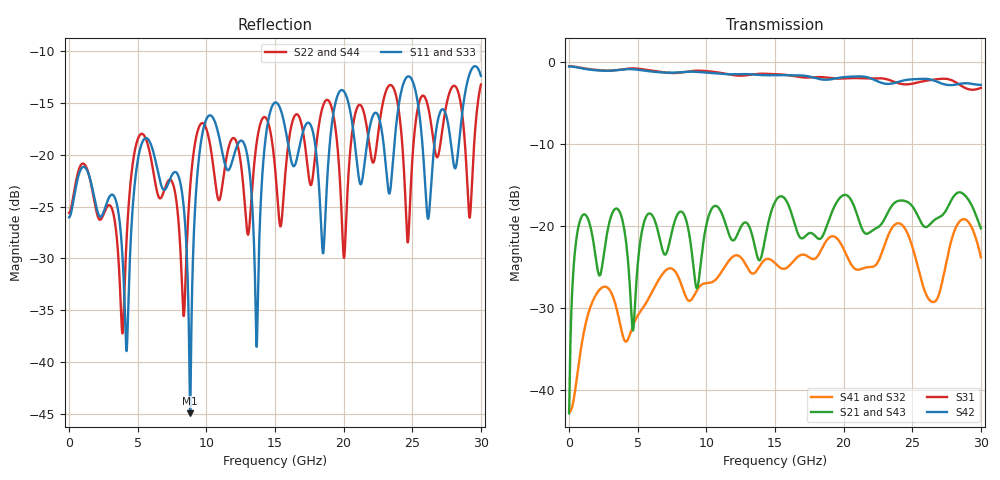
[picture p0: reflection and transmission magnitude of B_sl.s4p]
!diffpair-meanders B_sl (stripline: untuned U-bend), mesh medium
!ports 1 P_near 2 N_near 3 P_far 4 N_far; openEMS FDTD, lumped 50 ohm ports
# Hz S RI R 50.0
! Port[1] = P_near
! Port[2] = N_near
! Port[3] = P_far
! Port[4] = N_far
!freq ReS11 ImS11 ReS12 ImS12 ReS13 ImS13
! ReS14 ImS14
! ReS21 ImS21 ReS22 ImS22 ReS23 ImS23
! ReS24 ImS24
! ReS31 ImS31 ReS32 ImS32 ReS33 ImS33
! ReS34 ImS34
! ReS41 ImS41 ReS42 ImS42 ReS43 ImS43
! ReS44 ImS44
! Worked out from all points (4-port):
!   3000 points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, 10 MHz to 30 GHz, reference 50 ohm
!   strongest paths, dB at 10 MHz, 7.51 GHz, 15.01 GHz, 22.51 GHz, 30 GHz:
!     S42: -0.6, -1.3, -1.6, -2.4, -2.8
!     S31: -0.6, -1.4, -1.5, -2.0, -3.2
!     S21: -42.8, -20.6, -17.1, -20.2, -20.3
!     S43: -42.8, -20.6, -17.1, -20.2, -20.3
!     S41: -42.7, -25.2, -24.5, -24.4, -23.8
!     S32: -42.7, -25.2, -24.6, -24.5, -24.0
!   lowest |S11| = -45.0 dB at 8.82 GHz (marker M1), VSWR 1.01, Z = 50.4 + j0.397 ohm
!   |S11| at or under -10 dB: start of sweep to end of sweep
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1e7  -0.0499 0.00187  0.00705 0.00163  0.9384 -0.0124  0.00733 -0.000351
     0.00705 0.00163  -0.0524 0.00203  0.00733 -0.000351  0.9352 -0.013
     0.9384 -0.0124  0.00733 -0.000351  -0.0499 0.00187  0.00705 0.00163
     0.00733 -0.000351  0.9352 -0.013  0.00705 0.00163  -0.0524 0.00203
2.29e9  0.0478 0.0152  0.0496 0.0106  -0.8705 -0.1662  0.0382 0.0159
        0.0496 0.0106  0.0469 0.0128  0.0383 0.0159  -0.8817 -0.0243
        -0.8705 -0.1662  0.0382 0.0159  0.0478 0.0152  0.0496 0.0106
        0.0383 0.0159  -0.8817 -0.0243  0.0496 0.0106  0.0469 0.0127
8.82e9  0.00405 0.00394  0.0751 -0.0344  0.2734 0.8308  0.0017 -0.0348
        0.0752 -0.0344  -0.00425 0.069  0.00148 -0.035  0.7087 0.5024
        0.2734 0.8308  0.0017 -0.0348  0.004 0.00392  0.0751 -0.0344
        0.00148 -0.035  0.7087 0.5024  0.0752 -0.0344  -0.00433 0.069
1.098e10  0.1093 0.0449  0.1261 -0.00553  0.0616 -0.8541  0.0124 0.0486
          0.126 -0.00544  0.0466 0.0394  0.0126 0.049  -0.5424 -0.6482
          0.0616 -0.8541  0.0124 0.0486  0.1094 0.0449  0.1261 -0.00554
          0.0126 0.049  -0.5424 -0.6481  0.126 -0.00544  0.0467 0.0394
1.349e10  0.0342 -0.00556  0.0765 -0.0139  0.00117 0.8386  -0.00545 -0.0507
          0.0767 -0.0139  0.0207 0.0878  -0.00584 -0.0512  0.6937 0.4639
          0.00117 0.8386  -0.00545 -0.0507  0.0342 -0.0056  0.0765 -0.0139
          -0.00584 -0.0512  0.6937 0.4639  0.0767 -0.0139  0.0206 0.0878
1.588e10  0.1119 0.0453  0.1369 -0.0285  0.0729 -0.8257  0.0344 0.0429
          0.137 -0.0282  0.0232 0.0964  0.0349 0.0435  -0.703 -0.4338
          0.0729 -0.8257  0.0344 0.0429  0.1119 0.0453  0.1369 -0.0285
          0.0349 0.0435  -0.703 -0.4338  0.137 -0.0282  0.0233 0.0963
3e10  0.2301 0.0711  0.0858 -0.043  0.5526 -0.4175  0.041 0.048
      0.087 -0.0424  0.0813 0.2029  0.041 0.0497  -0.6891 -0.2167
      0.5526 -0.4175  0.041 0.048  0.2301 0.0711  0.0858 -0.043
      0.041 0.0497  -0.6891 -0.2167  0.087 -0.0424  0.0813 0.2029
